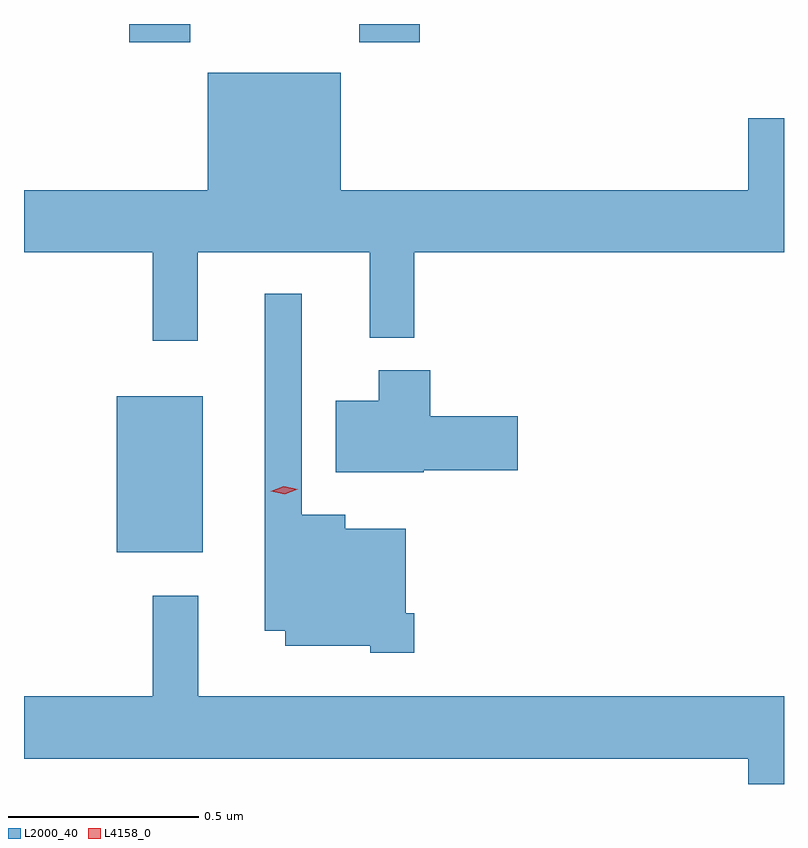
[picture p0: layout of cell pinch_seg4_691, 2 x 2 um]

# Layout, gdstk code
import gdstk
lib = gdstk.Library(unit=1e-6, precision=1e-09)
def R(c, l, rs):  # rectangles x0, y0, x1, y1
    for r in rs: c.add(gdstk.rectangle(r[:2], r[2:], *l))
def P(c, l, *ps):  # polygons
    for p in ps: c.add(gdstk.Polygon(p, *l))
L2000_40 = (2000, 40)
L4158_0 = (4158, 0)

pinch_seg4_691 = lib.new_cell('pinch_seg4_691')
R(pinch_seg4_691, L2000_40, [(1086.422,754.739,1086.649,755.149), (1086.455,756.081,1086.615,756.129), (1087.06,756.081,1087.22,756.129)])
P(pinch_seg4_691, L2000_40, [(1086.635,755.528),(1087.088,755.528),(1087.088,755.303),(1087.205,755.303),(1087.205,755.528),(1088.178,755.528),(1088.178,755.881),(1088.084,755.881),(1088.084,755.692),(1087.012,755.692),(1087.012,756.001),(1086.662,756.001),(1086.662,755.692),(1086.178,755.692),(1086.178,755.528),(1086.517,755.528),(1086.517,755.295),(1086.635,755.295)],
  [(1087.205,754.579),(1087.183,754.579),(1087.183,754.801),(1087.024,754.801),(1087.024,754.837),(1086.909,754.837),(1086.909,755.419),(1086.812,755.419),(1086.812,754.532),(1086.866,754.532),(1086.866,754.493),(1087.089,754.493),(1087.089,754.475),(1087.205,754.475)],
  [(1087.23,754.955),(1087.477,754.955),(1087.477,755.097),(1087.247,755.097),(1087.247,755.218),(1087.112,755.218),(1087.112,755.137),(1086.998,755.137),(1086.998,754.949),(1087.23,754.949)],
  [(1088.178,754.36),(1086.636,754.36),(1086.636,754.624),(1086.517,754.624),(1086.517,754.36),(1086.178,754.36),(1086.178,754.196),(1088.084,754.196),(1088.084,754.129),(1088.178,754.129)])
P(pinch_seg4_691, L4158_0, [(1086.864,754.892),(1086.827,754.9),(1086.827,754.9),(1086.827,754.9),(1086.862,754.912),(1086.898,754.905),(1086.899,754.905),(1086.898,754.905)])

lib.write_gds('pinch_seg4_691.gds')
